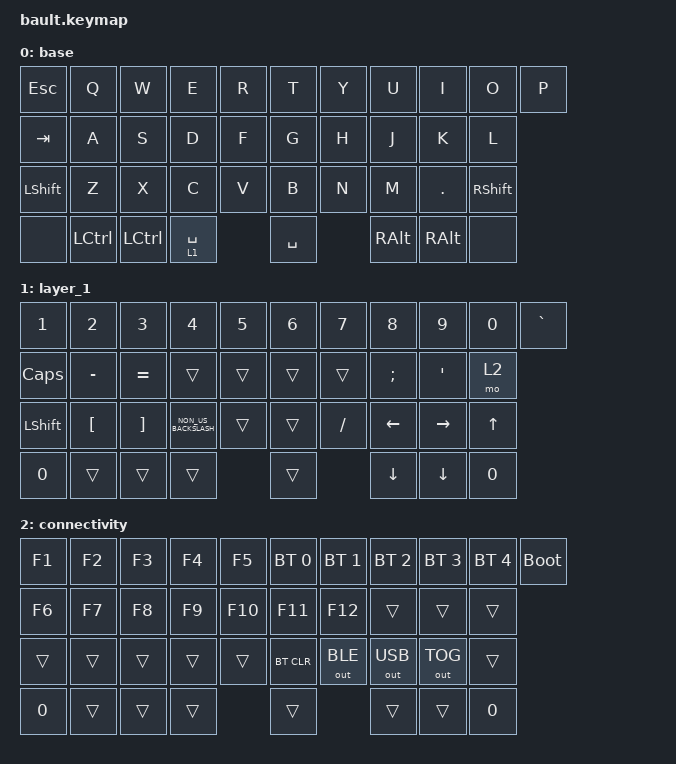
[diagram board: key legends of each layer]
#include <behaviors.dtsi>
#include <dt-bindings/zmk/bt.h>
#include <dt-bindings/zmk/keys.h>
#include <dt-bindings/zmk/outputs.h>

/ {
    behaviors {
        hm: homerow_mods {
            compatible = "zmk,behavior-hold-tap";
            display-name = "Homerow Mods";
            bindings = <&kp>, <&kp>;

            #binding-cells = <2>;
            tapping-term-ms = <200>;
            quick-tap-ms = <180>;
            require-prior-idle-ms = <0>;
            flavor = "tap-preferred";
        };
    };

    combos {
        compatible = "zmk,combos";

        Layer2 {
            bindings = <&lt 2 SPACE>;
            key-positions = <34 35>;
        };

        Backspace {
            bindings = <&kp BACKSPACE>;
            key-positions = <9 10>;
        };

        Enter {
            bindings = <&kp ENTER>;
            key-positions = <20 19>;
        };
    };

    keymap {
        compatible = "zmk,keymap";

        base {
            bindings = <
&kp ESCAPE      &kp Q             &kp W             &kp E        &kp R  &kp T      &kp Y  &kp U          &kp I          &kp O            &kp P
&kp TAB         &kp A             &kp S             &kp D        &kp F  &kp G      &kp H  &kp J          &kp K          &kp L
&kp LEFT_SHIFT  &kp Z             &kp X             &kp C        &kp V  &kp B      &kp N  &kp M          &kp DOT        &kp RIGHT_SHIFT
&none           &kp LEFT_CONTROL  &kp LEFT_CONTROL  &lt 1 SPACE         &kp SPACE         &kp RIGHT_ALT  &kp RIGHT_ALT  &none
            >;
        };

        layer_1 {
            bindings = <
&kp N1          &kp N2            &kp N3             &kp N4                &kp N5  &kp N6  &kp N7     &kp N8          &kp N9           &kp N0        &kp GRAVE
&kp CAPS        &kp MINUS         &kp EQUAL          &trans                &trans  &trans  &trans     &kp SEMICOLON   &kp SQT          &mo 2
&kp LEFT_SHIFT  &kp LEFT_BRACKET  &kp RIGHT_BRACKET  &kp NON_US_BACKSLASH  &trans  &trans  &kp SLASH  &kp LEFT_ARROW  &kp RIGHT_ARROW  &kp UP_ARROW
&kp N0          &trans            &trans             &trans                        &trans             &kp DOWN_ARROW  &kp DOWN_ARROW   &kp N0
            >;
        };

        connectivity {
            bindings = <
&kp F1  &kp F2  &kp F3  &kp F4  &kp F5   &bt BT_SEL 0  &bt BT_SEL 1  &bt BT_SEL 2  &bt BT_SEL 3  &bt BT_SEL 4  &bootloader
&kp F6  &kp F7  &kp F8  &kp F9  &kp F10  &kp F11       &kp F12       &trans        &trans        &trans
&trans  &trans  &trans  &trans  &trans   &bt BT_CLR    &out OUT_BLE  &out OUT_USB  &out OUT_TOG  &trans
&kp N0  &trans  &trans  &trans           &trans                      &trans        &trans        &kp N0
            >;
        };
    };
};
